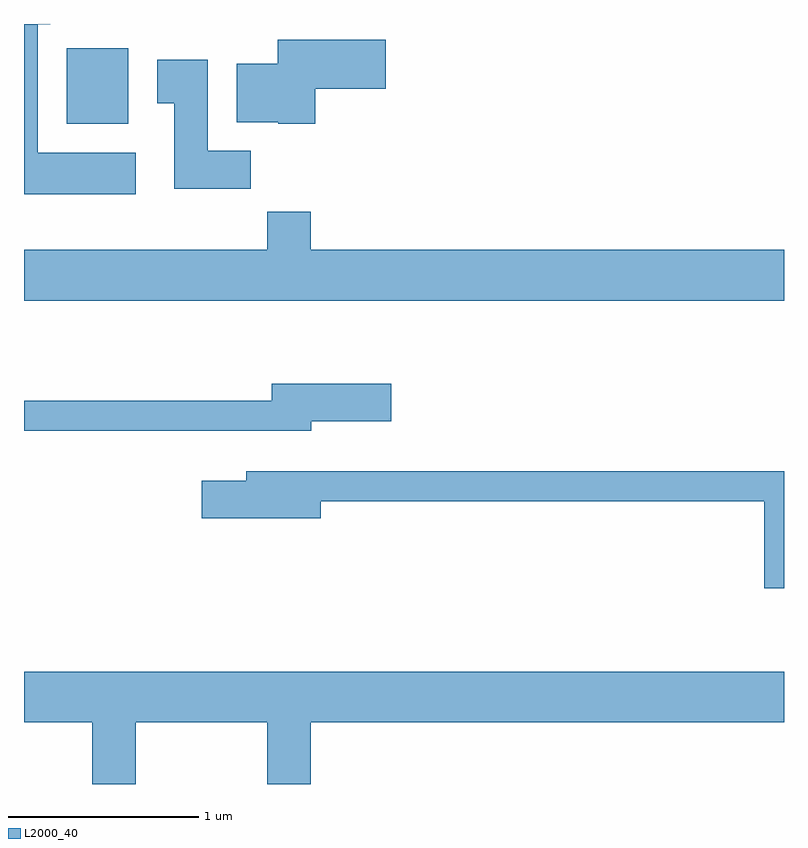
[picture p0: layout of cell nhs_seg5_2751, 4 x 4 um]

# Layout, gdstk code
import gdstk
lib = gdstk.Library(unit=1e-6, precision=1e-09)
def R(c, l, rs):  # rectangles x0, y0, x1, y1
    for r in rs: c.add(gdstk.rectangle(r[:2], r[2:], *l))
def P(c, l, *ps):  # polygons
    for p in ps: c.add(gdstk.Polygon(p, *l))
L2000_40 = (2000, 40)

nhs_seg5_2751 = lib.new_cell('nhs_seg5_2751')
R(nhs_seg5_2751, L2000_40, [(267.836,1415.546,268.159,1415.944)])
P(nhs_seg5_2751, L2000_40, [(268.199,1415.394),(267.684,1415.394),(267.684,1416.071),(267.748,1416.071),(267.748,1416.072),(267.611,1416.072),(267.611,1415.176),(268.199,1415.176)],
  [(269.144,1415.731),(269.514,1415.731),(269.514,1415.989),(268.946,1415.989),(268.946,1415.864),(268.731,1415.864),(268.731,1415.556),(268.95,1415.556),(268.95,1415.546),(269.144,1415.546)],
  [(268.804,1415.404),(268.579,1415.404),(268.579,1415.884),(268.311,1415.884),(268.311,1415.656),(268.401,1415.656),(268.401,1415.206),(268.804,1415.206)],
  [(271.611,1414.884),(269.119,1414.884),(269.119,1415.084),(268.891,1415.084),(268.891,1414.884),(267.611,1414.884),(267.611,1414.616),(271.611,1414.616)],
  [(269.124,1413.981),(269.544,1413.981),(269.544,1414.179),(268.916,1414.179),(268.916,1414.089),(267.611,1414.089),(267.611,1413.931),(269.124,1413.931)],
  [(271.611,1413.719),(268.781,1413.719),(268.781,1413.669),(268.546,1413.669),(268.546,1413.471),(269.174,1413.471),(269.174,1413.561),(271.506,1413.561),(271.506,1413.101),(271.611,1413.101)],
  [(268.199,1412.396),(268.891,1412.396),(268.891,1412.072),(269.119,1412.072),(269.119,1412.396),(271.611,1412.396),(271.611,1412.664),(267.611,1412.664),(267.611,1412.396),(267.971,1412.396),(267.971,1412.072),(268.199,1412.072)])

lib.write_gds('nhs_seg5_2751.gds')
